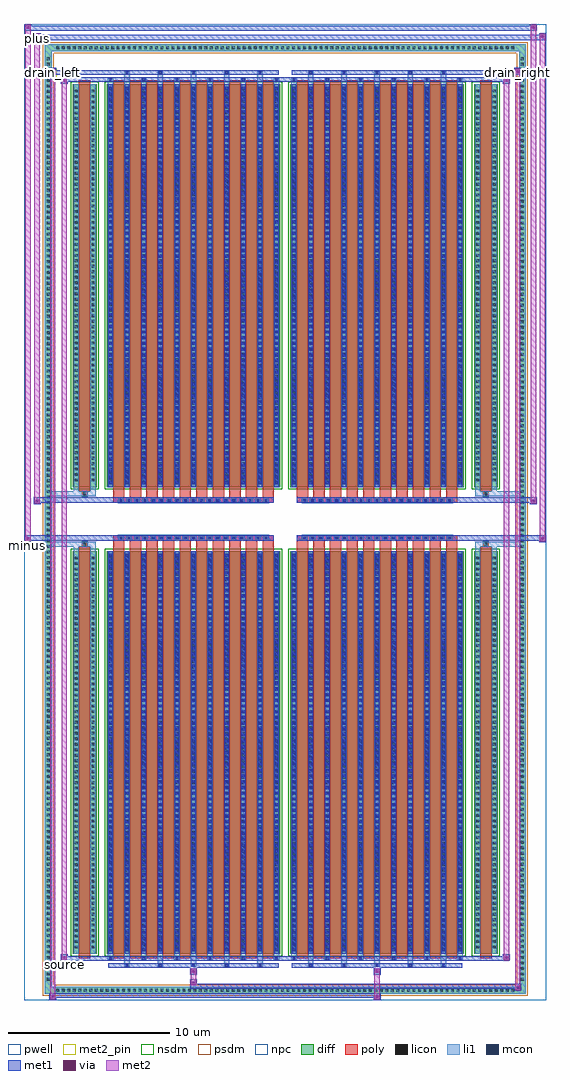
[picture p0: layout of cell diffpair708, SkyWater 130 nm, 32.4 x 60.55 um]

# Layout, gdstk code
import gdstk
lib = gdstk.Library(unit=1e-6, precision=5e-09)
def R(c, l, rs):  # rectangles x0, y0, x1, y1
    for r in rs: c.add(gdstk.rectangle(r[:2], r[2:], *l))
def A(c, l, x, y, w, h, nx, ny, dx, dy):  # array of equal rectangles
    R(c, l, [(x+i*dx, y+j*dy, x+i*dx+w, y+j*dy+h) for i in range(nx) for j in range(ny)])
def P(c, l, *ps):  # polygons
    for p in ps: c.add(gdstk.Polygon(p, *l))
pwell = (64, 44)
diff = (65, 20)
poly = (66, 20)
licon = (66, 44)
li1 = (67, 20)
mcon = (67, 44)
met1 = (68, 20)
via = (68, 44)
met2_pin = (69, 16)
met2 = (69, 20)
nsdm = (93, 44)
psdm = (94, 20)
npc = (95, 20)

diffpair708 = lib.new_cell('diffpair708')
R(diffpair708, pwell, [(-16.18,-29.84,16.18,30.71), (-13.5,-28.03,-0.01,-0.805), (0.01,-28.03,13.5,-0.805), (-13.5,0.805,-0.01,28.03), (0.01,0.805,13.5,28.03)])
A(diffpair708, diff, -14.315, -29.44, 0.41, 0.41, 84, 2, 0.34, 58.47)
A(diffpair708, diff, -14.91, -28.765, 0.41, 0.41, 1, 169, 0, 0.34)
A(diffpair708, diff, 14.5, -28.765, 0.41, 0.41, 1, 169, 0, 0.34)
R(diffpair708, diff, [(-14.315,-29.44,14.315,-29.03), (-14.91,-28.765,-14.5,28.765), (14.5,-28.765,14.91,28.765), (-13.19,-26.985,-11.71,-1.985), (-11.07,-26.985,-0.32,-1.985), (0.32,-26.985,11.07,-1.985), (11.71,-26.985,13.19,-1.985), (-13.19,1.985,-11.71,26.985), (-11.07,1.985,-0.32,26.985), (0.32,1.985,11.07,26.985), (11.71,1.985,13.19,26.985), (-14.315,29.03,14.315,29.44)])
P(diffpair708, diff, [(14.91,29.44),(-14.91,29.44),(-14.91,-29.03),(-14.5,-29.03),(-14.5,29.03),(14.5,29.03),(14.5,-29.03),(-14.5,-29.03),(-14.91,-29.03),(-14.91,-29.44),(14.91,-29.44)])
A(diffpair708, poly, -10.68, -27.235, 0.7, 25.5, 10, 2, 1.03, 28.97)
A(diffpair708, poly, 0.71, -27.235, 0.7, 25.5, 10, 2, 1.03, 28.97)
A(diffpair708, poly, -10.68, -1.735, 0.7, 0.4, 10, 2, 1.03, 3.07)
A(diffpair708, poly, 0.71, -1.735, 0.7, 0.4, 10, 2, 1.03, 3.07)
A(diffpair708, poly, -10.36, -1.335, 0.33, 0.33, 19, 2, 0.5, 2.34)
A(diffpair708, poly, 1.03, -1.335, 0.33, 0.33, 19, 2, 0.5, 2.34)
R(diffpair708, poly, [(-12.8,-27.235,-12.1,-1.735), (12.1,-27.235,12.8,-1.735), (-12.615,-1.735,-12.285,-1.405), (-12.615,-1.735,-12.285,-1.405), (12.285,-1.735,12.615,-1.405), (12.285,-1.735,12.615,-1.405), (-10.68,-1.335,-0.71,-1.005), (0.71,-1.335,10.68,-1.005), (-10.68,1.005,-0.71,1.335), (0.71,1.005,10.68,1.335), (-12.615,1.405,-12.285,1.735), (-12.615,1.405,-12.285,1.735), (12.285,1.405,12.615,1.735), (12.285,1.405,12.615,1.735), (-12.8,1.735,-12.1,27.235), (12.1,1.735,12.8,27.235)])
A(diffpair708, licon, -14.195, -29.32, 0.17, 0.17, 84, 2, 0.34, 58.47)
A(diffpair708, licon, -14.79, -28.645, 0.17, 0.17, 1, 169, 0, 0.34)
A(diffpair708, licon, 14.62, -28.645, 0.17, 0.17, 1, 169, 0, 0.34)
A(diffpair708, licon, -13.05, -26.64, 0.17, 0.17, 1, 72, 0, 0.34)
A(diffpair708, licon, -12.02, -26.64, 0.17, 0.17, 1, 72, 0, 0.34)
A(diffpair708, licon, -10.93, -26.64, 0.17, 0.17, 11, 72, 1.03, 0.34)
A(diffpair708, licon, 0.46, -26.64, 0.17, 0.17, 11, 72, 1.03, 0.34)
A(diffpair708, licon, 11.85, -26.64, 0.17, 0.17, 1, 72, 0, 0.34)
A(diffpair708, licon, 12.88, -26.64, 0.17, 0.17, 1, 72, 0, 0.34)
A(diffpair708, licon, -10.28, -1.255, 0.17, 0.17, 19, 2, 0.5, 2.34)
A(diffpair708, licon, 1.11, -1.255, 0.17, 0.17, 19, 2, 0.5, 2.34)
A(diffpair708, licon, -13.05, 2.33, 0.17, 0.17, 1, 72, 0, 0.34)
A(diffpair708, licon, -12.02, 2.33, 0.17, 0.17, 1, 72, 0, 0.34)
A(diffpair708, licon, -10.93, 2.33, 0.17, 0.17, 11, 72, 1.03, 0.34)
A(diffpair708, licon, 0.46, 2.33, 0.17, 0.17, 11, 72, 1.03, 0.34)
A(diffpair708, licon, 11.85, 2.33, 0.17, 0.17, 1, 72, 0, 0.34)
A(diffpair708, licon, 12.88, 2.33, 0.17, 0.17, 1, 72, 0, 0.34)
R(diffpair708, licon, [(-12.535,-1.655,-12.365,-1.485), (12.365,-1.655,12.535,-1.485), (-12.535,1.485,-12.365,1.655), (12.365,1.485,12.535,1.655)])
A(diffpair708, li1, -14.275, -29.4, 0.33, 0.33, 84, 2, 0.34, 58.47)
A(diffpair708, li1, -14.87, -28.725, 0.33, 0.33, 1, 169, 0, 0.34)
A(diffpair708, li1, 14.54, -28.725, 0.33, 0.33, 1, 169, 0, 0.34)
A(diffpair708, li1, -9.98, -27.79, 0.33, 0.805, 5, 2, 2.06, 54.775)
A(diffpair708, li1, -9.9, -27.79, 0.17, 0.17, 5, 2, 2.06, 55.41)
A(diffpair708, li1, 1.41, -27.79, 0.33, 0.805, 5, 2, 2.06, 54.775)
A(diffpair708, li1, 1.49, -27.79, 0.17, 0.17, 5, 2, 2.06, 55.41)
A(diffpair708, li1, -11.01, -27.36, 0.33, 0.375, 6, 2, 2.06, 54.345)
A(diffpair708, li1, -10.93, -27.36, 0.17, 0.17, 6, 2, 2.06, 54.55)
A(diffpair708, li1, 0.38, -27.36, 0.33, 0.375, 6, 2, 2.06, 54.345)
A(diffpair708, li1, 0.46, -27.36, 0.17, 0.17, 6, 2, 2.06, 54.55)
A(diffpair708, li1, -11.01, -26.985, 0.33, 25, 11, 2, 1.03, 28.97)
A(diffpair708, li1, 0.38, -26.985, 0.33, 25, 11, 2, 1.03, 28.97)
A(diffpair708, li1, -10.93, -26.81, 0.17, 0.17, 11, 69, 1.03, 0.36)
A(diffpair708, li1, -10.93, -26.81, 0.17, 24.65, 11, 2, 1.03, 28.97)
A(diffpair708, li1, 0.46, -26.81, 0.17, 0.17, 11, 69, 1.03, 0.36)
A(diffpair708, li1, 0.46, -26.81, 0.17, 24.65, 11, 2, 1.03, 28.97)
A(diffpair708, li1, -13.13, -26.72, 0.33, 0.33, 1, 72, 0, 0.34)
A(diffpair708, li1, -12.1, -26.72, 0.33, 0.33, 1, 72, 0, 0.34)
A(diffpair708, li1, -11.01, -26.72, 0.33, 0.33, 11, 72, 1.03, 0.34)
A(diffpair708, li1, 0.38, -26.72, 0.33, 0.33, 11, 72, 1.03, 0.34)
A(diffpair708, li1, 11.77, -26.72, 0.33, 0.33, 1, 72, 0, 0.34)
A(diffpair708, li1, 12.8, -26.72, 0.33, 0.33, 1, 72, 0, 0.34)
A(diffpair708, li1, -10.36, -1.335, 0.33, 0.33, 19, 2, 0.5, 2.34)
A(diffpair708, li1, 1.03, -1.335, 0.33, 0.33, 19, 2, 0.5, 2.34)
A(diffpair708, li1, -10.93, 2.16, 0.17, 0.17, 11, 69, 1.03, 0.36)
A(diffpair708, li1, 0.46, 2.16, 0.17, 0.17, 11, 69, 1.03, 0.36)
A(diffpair708, li1, -13.13, 2.25, 0.33, 0.33, 1, 72, 0, 0.34)
A(diffpair708, li1, -12.1, 2.25, 0.33, 0.33, 1, 72, 0, 0.34)
A(diffpair708, li1, -11.01, 2.25, 0.33, 0.33, 11, 72, 1.03, 0.34)
A(diffpair708, li1, 0.38, 2.25, 0.33, 0.33, 11, 72, 1.03, 0.34)
A(diffpair708, li1, 11.77, 2.25, 0.33, 0.33, 1, 72, 0, 0.34)
A(diffpair708, li1, 12.8, 2.25, 0.33, 0.33, 1, 72, 0, 0.34)
R(diffpair708, li1, [(-14.91,-29.44,-14.5,-29.03), (-14.91,-29.44,-14.5,-29.03), (-14.5,-29.44,14.5,-29.03), (14.5,-29.44,14.91,-29.03), (14.5,-29.44,14.91,-29.03), (-14.91,-29.03,-14.5,29.03), (14.5,-29.03,14.91,29.03), (-13.13,-26.985,-12.8,-1.985), (-12.1,-26.985,-11.77,-1.985), (11.77,-26.985,12.1,-1.985), (12.8,-26.985,13.13,-1.985), (-13.13,-1.985,-12.8,-1.405), (-12.1,-1.985,-11.77,-1.405), (11.77,-1.985,12.1,-1.405), (12.8,-1.985,13.13,-1.405), (-14.91,-1.735,-12.615,-1.405), (-13.13,-1.735,-12.615,-1.405), (-12.615,-1.735,-12.285,-1.405), (-12.285,-1.735,-11.77,-1.405), (11.77,-1.735,12.285,-1.405), (12.285,-1.735,12.615,-1.405), (12.285,-1.735,14.91,-1.405), (12.615,-1.735,13.13,-1.405), (-14.91,1.405,-12.615,1.735), (-13.13,1.405,-12.615,1.735), (-13.13,1.405,-12.8,1.985), (-12.615,1.405,-12.285,1.735), (-12.285,1.405,-11.77,1.735), (-12.1,1.405,-11.77,1.985), (11.77,1.405,12.285,1.735), (11.77,1.405,12.1,1.985), (12.285,1.405,12.615,1.735), (12.285,1.405,14.91,1.735), (12.615,1.405,13.13,1.735), (12.8,1.405,13.13,1.985), (-13.13,1.985,-12.8,26.985), (-12.1,1.985,-11.77,26.985), (11.77,1.985,12.1,26.985), (12.8,1.985,13.13,26.985), (-14.91,29.03,-14.5,29.44), (-14.91,29.03,-14.5,29.44), (-14.5,29.03,14.5,29.44), (14.5,29.03,14.91,29.44), (14.5,29.03,14.91,29.44)])
A(diffpair708, mcon, -9.9, -27.79, 0.17, 0.17, 5, 2, 2.06, 55.41)
A(diffpair708, mcon, 1.49, -27.79, 0.17, 0.17, 5, 2, 2.06, 55.41)
A(diffpair708, mcon, -10.93, -27.36, 0.17, 0.17, 6, 2, 2.06, 54.55)
A(diffpair708, mcon, 0.46, -27.36, 0.17, 0.17, 6, 2, 2.06, 54.55)
A(diffpair708, mcon, -10.93, -26.81, 0.17, 0.17, 11, 69, 1.03, 0.36)
A(diffpair708, mcon, 0.46, -26.81, 0.17, 0.17, 11, 69, 1.03, 0.36)
A(diffpair708, mcon, -10.28, -1.255, 0.17, 0.17, 19, 2, 0.5, 2.34)
A(diffpair708, mcon, 1.11, -1.255, 0.17, 0.17, 19, 2, 0.5, 2.34)
A(diffpair708, mcon, -10.93, 2.16, 0.17, 0.17, 11, 69, 1.03, 0.36)
A(diffpair708, mcon, 0.46, 2.16, 0.17, 0.17, 11, 69, 1.03, 0.36)
A(diffpair708, met1, -9.96, -27.85, 0.29, 0.29, 5, 2, 2.06, 55.41)
A(diffpair708, met1, 1.43, -27.85, 0.29, 0.29, 5, 2, 2.06, 55.41)
A(diffpair708, met1, -10.99, -27.42, 0.29, 0.29, 6, 2, 2.06, 54.55)
A(diffpair708, met1, 0.4, -27.42, 0.29, 0.29, 6, 2, 2.06, 54.55)
A(diffpair708, met1, -10.99, -26.985, 0.29, 25, 11, 2, 1.03, 28.97)
A(diffpair708, met1, 0.4, -26.985, 0.29, 25, 11, 2, 1.03, 28.97)
A(diffpair708, met1, -10.99, -26.87, 0.29, 0.29, 11, 69, 1.03, 0.36)
A(diffpair708, met1, 0.4, -26.87, 0.29, 0.29, 11, 69, 1.03, 0.36)
A(diffpair708, met1, -10.34, -1.315, 0.29, 0.29, 19, 2, 0.5, 2.34)
A(diffpair708, met1, 1.05, -1.315, 0.29, 0.29, 19, 2, 0.5, 2.34)
A(diffpair708, met1, -10.99, 2.1, 0.29, 0.29, 11, 69, 1.03, 0.36)
A(diffpair708, met1, 0.4, 2.1, 0.29, 0.29, 11, 69, 1.03, 0.36)
R(diffpair708, met1, [(-14.64,-29.84,-14.21,-29.41), (5.48,-29.84,5.91,-29.41), (-14.64,-29.7,5.91,-29.41), (14.21,-29.27,14.64,-28.84), (-5.91,-29.13,14.64,-28.84), (-5.91,-28.99,-5.48,-28.56), (-5.91,-28.28,-5.48,-27.85), (5.48,-28.28,5.91,-27.85), (-10.99,-27.85,-0.4,-27.56), (0.4,-27.85,10.99,-27.56), (-13.93,-27.42,-13.5,-26.99), (-13.93,-27.42,-10.99,-27.13), (-10.99,-27.42,-0.4,-27.13), (-0.4,-27.42,0.4,-27.13), (0.4,-27.42,10.99,-27.13), (10.99,-27.42,13.93,-27.13), (13.5,-27.42,13.93,-26.99), (-16.18,-1.435,-15.75,-1.005), (15.75,-1.435,16.18,-1.005), (-16.18,-1.335,-0.71,-1.005), (-10.68,-1.335,-0.71,-1.005), (0.71,-1.335,10.68,-1.005), (0.71,-1.335,16.18,-1.005), (-15.61,0.905,-15.18,1.335), (15.18,0.905,15.61,1.335), (-15.61,1.005,-10.68,1.335), (-10.68,1.005,-0.71,1.335), (0.71,1.005,10.68,1.335), (10.68,1.005,15.61,1.335), (-13.93,26.99,-13.5,27.42), (13.5,26.99,13.93,27.42), (-13.93,27.13,-10.99,27.42), (-10.99,27.13,-0.4,27.42), (-0.4,27.13,0.4,27.42), (0.4,27.13,10.99,27.42), (10.99,27.13,13.93,27.42), (-14.64,27.56,-14.21,27.99), (-14.64,27.56,-10.99,27.85), (-10.99,27.56,-0.4,27.85), (0.4,27.56,10.99,27.85), (10.99,27.56,14.64,27.85), (14.21,27.56,14.64,27.99), (-15.61,29.71,-15.18,30.14), (-15.61,29.71,-13.5,30.04), (-13.5,29.71,13.5,30.04), (13.5,29.71,16.18,30.04), (15.75,29.71,16.18,30.14), (-16.18,30.28,-15.75,30.71), (-16.18,30.28,-13.5,30.61), (-13.5,30.28,13.5,30.61), (13.5,30.28,15.61,30.61), (15.18,30.28,15.61,30.71)])
R(diffpair708, via, [(-14.5,-29.7,-14.35,-29.55), (5.62,-29.7,5.77,-29.55), (14.35,-29.13,14.5,-28.98), (-5.77,-28.85,-5.62,-28.7), (-5.77,-28.14,-5.62,-27.99), (5.62,-28.14,5.77,-27.99), (-13.79,-27.28,-13.64,-27.13), (13.64,-27.28,13.79,-27.13), (-16.04,-1.295,-15.89,-1.145), (15.89,-1.295,16.04,-1.145), (-15.47,1.045,-15.32,1.195), (15.32,1.045,15.47,1.195), (-13.79,27.13,-13.64,27.28), (13.64,27.13,13.79,27.28), (-14.5,27.7,-14.35,27.85), (14.35,27.7,14.5,27.85), (-15.47,29.85,-15.32,30), (15.89,29.85,16.04,30), (-16.04,30.42,-15.89,30.57), (15.32,30.42,15.47,30.57)])
R(diffpair708, met2_pin, [(-13.965,-27.87,-13.465,-27.37), (-16.215,-1.885,-15.715,-1.385), (-14.675,27.44,-14.175,27.94), (14.175,27.44,14.675,27.94), (-15.645,29.59,-15.145,30.09)])
R(diffpair708, met2, [(-14.59,-29.79,-14.26,-29.46), (-14.59,-29.79,-14.26,27.94), (5.53,-29.79,5.86,-29.46), (5.53,-29.46,5.86,-28.23), (14.26,-29.22,14.59,-28.89), (14.26,-29.22,14.59,27.94), (-5.86,-28.94,-5.53,-28.61), (-5.86,-28.61,-5.53,-28.23), (-5.86,-28.23,-5.53,-27.9), (5.53,-28.23,5.86,-27.9), (-13.88,-27.37,-13.55,-27.04), (-13.88,-27.37,-13.55,27.37), (13.55,-27.37,13.88,-27.04), (13.55,-27.37,13.88,27.37), (-16.13,-1.385,-15.8,-1.055), (-16.13,-1.385,-15.8,30.66), (15.8,-1.385,16.13,-1.055), (15.8,-1.385,16.13,30.09), (-15.56,0.955,-15.23,1.285), (-15.56,0.955,-15.23,30.09), (15.23,0.955,15.56,1.285), (15.23,0.955,15.56,30.66), (-13.88,27.04,-13.55,27.37), (13.55,27.04,13.88,27.37), (-14.59,27.61,-14.26,27.94), (14.26,27.61,14.59,27.94), (-15.56,29.76,-15.23,30.09), (15.8,29.76,16.13,30.09), (-16.13,30.33,-15.8,30.66), (15.23,30.33,15.56,30.66)])
P(diffpair708, met2, [(16.13,-1.385),(16.13,-1.385),(16.13,-1.055),(16.13,-1.055)],
  [(16.13,29.76),(16.13,29.76),(16.13,30.09),(16.13,30.09)],
  [(-15.8,-1.385),(-15.8,-1.385),(-15.8,-1.055),(-15.8,-1.055)],
  [(-15.8,30.33),(-15.8,30.33),(-15.8,30.66),(-15.8,30.66)],
  [(15.56,0.955),(15.56,0.955),(15.56,1.285),(15.56,1.285)],
  [(15.56,30.33),(15.56,30.33),(15.56,30.66),(15.56,30.66)],
  [(-15.23,0.955),(-15.23,0.955),(-15.23,1.285),(-15.23,1.285)],
  [(-15.23,29.76),(-15.23,29.76),(-15.23,30.09),(-15.23,30.09)],
  [(-14.26,-29.79),(-14.26,-29.79),(-14.26,-29.46),(-14.26,-29.46)],
  [(-14.26,27.61),(-14.26,27.61),(-14.26,27.94),(-14.26,27.94)],
  [(14.59,-29.22),(14.59,-29.22),(14.59,-28.89),(14.59,-28.89)],
  [(14.59,27.61),(14.59,27.61),(14.59,27.94),(14.59,27.94)],
  [(-13.55,-27.37),(-13.55,-27.37),(-13.55,-27.04),(-13.55,-27.04)],
  [(-13.55,27.04),(-13.55,27.04),(-13.55,27.37),(-13.55,27.37)],
  [(13.88,-27.37),(13.88,-27.37),(13.88,-27.04),(13.88,-27.04)],
  [(13.88,27.04),(13.88,27.04),(13.88,27.37),(13.88,27.37)])
R(diffpair708, nsdm, [(-13.32,-27.115,-11.58,-1.855), (-11.2,-27.115,-0.19,-1.855), (0.19,-27.115,11.2,-1.855), (11.58,-27.115,13.32,-1.855), (-13.32,1.855,-11.58,27.115), (-11.2,1.855,-0.19,27.115), (0.19,1.855,11.2,27.115), (11.58,1.855,13.32,27.115)])
P(diffpair708, psdm, [(15.04,29.57),(-15.04,29.57),(-15.04,-28.9),(-14.37,-28.9),(-14.37,28.9),(14.37,28.9),(14.37,-28.9),(-14.37,-28.9),(-15.04,-28.9),(-15.04,-29.57),(15.04,-29.57)])
A(diffpair708, npc, -10.38, -1.355, 0.37, 0.37, 19, 2, 0.5, 2.34)
A(diffpair708, npc, 1.01, -1.355, 0.37, 0.37, 19, 2, 0.5, 2.34)
R(diffpair708, npc, [(-12.635,-1.755,-12.265,-1.385), (12.265,-1.755,12.635,-1.385), (-10.38,-1.355,-9.51,-0.985), (-10.38,-1.355,-9.51,-0.985), (-9.88,-1.355,-9.01,-0.985), (-9.88,-1.355,-9.01,-0.985), (-9.38,-1.355,-8.51,-0.985), (-9.38,-1.355,-8.51,-0.985), (-8.88,-1.355,-8.01,-0.985), (-8.88,-1.355,-8.01,-0.985), (-8.38,-1.355,-7.51,-0.985), (-8.38,-1.355,-7.51,-0.985), (-7.88,-1.355,-7.01,-0.985), (-7.88,-1.355,-7.01,-0.985), (-7.38,-1.355,-6.51,-0.985), (-7.38,-1.355,-6.51,-0.985), (-6.88,-1.355,-6.01,-0.985), (-6.88,-1.355,-6.01,-0.985), (-6.38,-1.355,-5.51,-0.985), (-6.38,-1.355,-5.51,-0.985), (-5.88,-1.355,-5.01,-0.985), (-5.88,-1.355,-5.01,-0.985), (-5.38,-1.355,-4.51,-0.985), (-5.38,-1.355,-4.51,-0.985), (-4.88,-1.355,-4.01,-0.985), (-4.88,-1.355,-4.01,-0.985), (-4.38,-1.355,-3.51,-0.985), (-4.38,-1.355,-3.51,-0.985), (-3.88,-1.355,-3.01,-0.985), (-3.88,-1.355,-3.01,-0.985), (-3.38,-1.355,-2.51,-0.985), (-3.38,-1.355,-2.51,-0.985), (-2.88,-1.355,-2.01,-0.985), (-2.88,-1.355,-2.01,-0.985), (-2.38,-1.355,-1.51,-0.985), (-2.38,-1.355,-1.51,-0.985), (-1.88,-1.355,-1.01,-0.985), (-1.88,-1.355,-1.01,-0.985), (1.01,-1.355,1.88,-0.985), (1.01,-1.355,1.88,-0.985), (1.51,-1.355,2.38,-0.985), (1.51,-1.355,2.38,-0.985), (2.01,-1.355,2.88,-0.985), (2.01,-1.355,2.88,-0.985), (2.51,-1.355,3.38,-0.985), (2.51,-1.355,3.38,-0.985), (3.01,-1.355,3.88,-0.985), (3.01,-1.355,3.88,-0.985), (3.51,-1.355,4.38,-0.985), (3.51,-1.355,4.38,-0.985), (4.01,-1.355,4.88,-0.985), (4.01,-1.355,4.88,-0.985), (4.51,-1.355,5.38,-0.985), (4.51,-1.355,5.38,-0.985), (5.01,-1.355,5.88,-0.985), (5.01,-1.355,5.88,-0.985), (5.51,-1.355,6.38,-0.985), (5.51,-1.355,6.38,-0.985), (6.01,-1.355,6.88,-0.985), (6.01,-1.355,6.88,-0.985), (6.51,-1.355,7.38,-0.985), (6.51,-1.355,7.38,-0.985), (7.01,-1.355,7.88,-0.985), (7.01,-1.355,7.88,-0.985), (7.51,-1.355,8.38,-0.985), (7.51,-1.355,8.38,-0.985), (8.01,-1.355,8.88,-0.985), (8.01,-1.355,8.88,-0.985), (8.51,-1.355,9.38,-0.985), (8.51,-1.355,9.38,-0.985), (9.01,-1.355,9.88,-0.985), (9.01,-1.355,9.88,-0.985), (9.51,-1.355,10.38,-0.985), (9.51,-1.355,10.38,-0.985), (-10.38,0.985,-9.51,1.355), (-10.38,0.985,-9.51,1.355), (-9.88,0.985,-9.01,1.355), (-9.88,0.985,-9.01,1.355), (-9.38,0.985,-8.51,1.355), (-9.38,0.985,-8.51,1.355), (-8.88,0.985,-8.01,1.355), (-8.88,0.985,-8.01,1.355), (-8.38,0.985,-7.51,1.355), (-8.38,0.985,-7.51,1.355), (-7.88,0.985,-7.01,1.355), (-7.88,0.985,-7.01,1.355), (-7.38,0.985,-6.51,1.355), (-7.38,0.985,-6.51,1.355), (-6.88,0.985,-6.01,1.355), (-6.88,0.985,-6.01,1.355), (-6.38,0.985,-5.51,1.355), (-6.38,0.985,-5.51,1.355), (-5.88,0.985,-5.01,1.355), (-5.88,0.985,-5.01,1.355), (-5.38,0.985,-4.51,1.355), (-5.38,0.985,-4.51,1.355), (-4.88,0.985,-4.01,1.355), (-4.88,0.985,-4.01,1.355), (-4.38,0.985,-3.51,1.355), (-4.38,0.985,-3.51,1.355), (-3.88,0.985,-3.01,1.355), (-3.88,0.985,-3.01,1.355), (-3.38,0.985,-2.51,1.355), (-3.38,0.985,-2.51,1.355), (-2.88,0.985,-2.01,1.355), (-2.88,0.985,-2.01,1.355), (-2.38,0.985,-1.51,1.355), (-2.38,0.985,-1.51,1.355), (-1.88,0.985,-1.01,1.355), (-1.88,0.985,-1.01,1.355), (1.01,0.985,1.88,1.355), (1.01,0.985,1.88,1.355), (1.51,0.985,2.38,1.355), (1.51,0.985,2.38,1.355), (2.01,0.985,2.88,1.355), (2.01,0.985,2.88,1.355), (2.51,0.985,3.38,1.355), (2.51,0.985,3.38,1.355), (3.01,0.985,3.88,1.355), (3.01,0.985,3.88,1.355), (3.51,0.985,4.38,1.355), (3.51,0.985,4.38,1.355), (4.01,0.985,4.88,1.355), (4.01,0.985,4.88,1.355), (4.51,0.985,5.38,1.355), (4.51,0.985,5.38,1.355), (5.01,0.985,5.88,1.355), (5.01,0.985,5.88,1.355), (5.51,0.985,6.38,1.355), (5.51,0.985,6.38,1.355), (6.01,0.985,6.88,1.355), (6.01,0.985,6.88,1.355), (6.51,0.985,7.38,1.355), (6.51,0.985,7.38,1.355), (7.01,0.985,7.88,1.355), (7.01,0.985,7.88,1.355), (7.51,0.985,8.38,1.355), (7.51,0.985,8.38,1.355), (8.01,0.985,8.88,1.355), (8.01,0.985,8.88,1.355), (8.51,0.985,9.38,1.355), (8.51,0.985,9.38,1.355), (9.01,0.985,9.88,1.355), (9.01,0.985,9.88,1.355), (9.51,0.985,10.38,1.355), (9.51,0.985,10.38,1.355), (-12.635,1.385,-12.265,1.755), (12.265,1.385,12.635,1.755)])
diffpair708.add(gdstk.Label('minus', (-15.965,-1.635), layer=69, texttype=5))
diffpair708.add(gdstk.Label('drain_right', (14.425,27.69), layer=69, texttype=5))
diffpair708.add(gdstk.Label('drain_left', (-14.425,27.69), layer=69, texttype=5))
diffpair708.add(gdstk.Label('source', (-13.715,-27.62), layer=69, texttype=5))
diffpair708.add(gdstk.Label('plus', (-15.395,29.84), layer=69, texttype=5))

lib.write_gds('diffpair708.gds')
